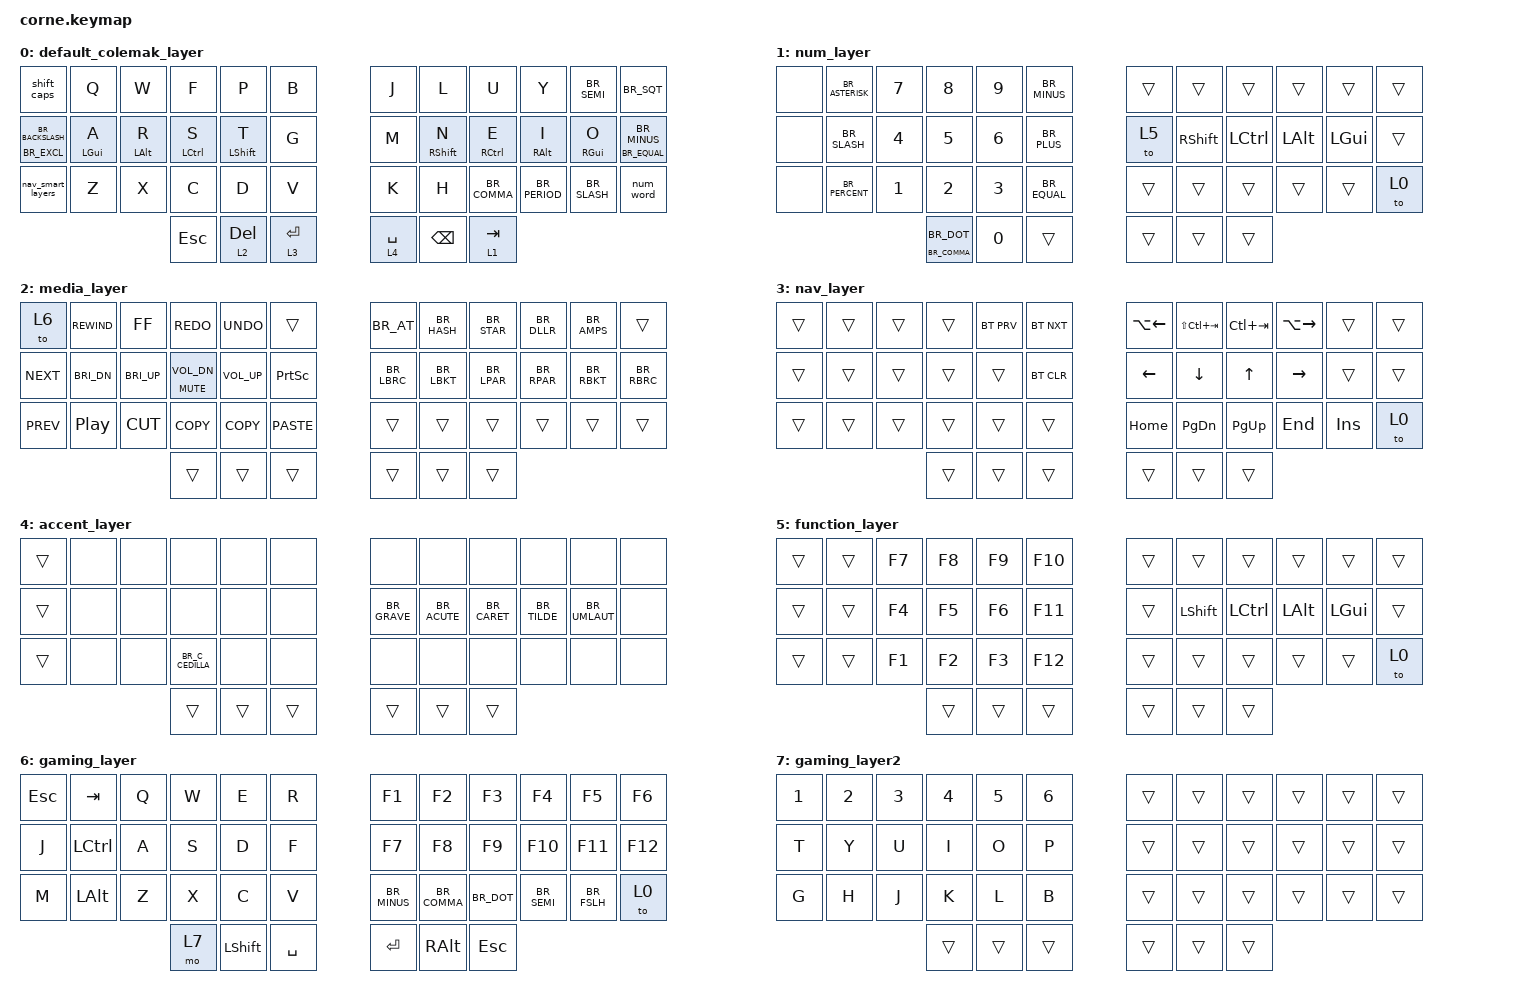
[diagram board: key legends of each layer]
/*
 * Copyright (c) 2020 The ZMK Contributors
 *
 * SPDX-License-Identifier: MIT
 */

#include <behaviors.dtsi>
#include "keys_br.h"
#include <dt-bindings/zmk/bt.h>
#include <dt-bindings/zmk/keys.h>
#include <dt-bindings/zmk/keys.h>

&caps_word {
    continue-list = <UNDERSCORE BACKSPACE DELETE MINUS>;
};

&mt {
    bindings = <&kp>, <&kp>;

    tapping-term-ms = <200>;
};

/ {
    behaviors {
        shift_caps: shift_caps {
            compatible = "zmk,behavior-tap-dance";
            label = "SHIFT_CAPS";
            #binding-cells = <0>;
            bindings = <&caps_word>, <&kt CAPSLOCK>;

            tapping-term-ms = <400>;
        };

        hmr: homewrow_mods_right {
            compatible = "zmk,behavior-hold-tap";
            label = "HOMEROW_MODS_RIGHT_HAND";
            bindings = <&kp>, <&kp>;

            #binding-cells = <2>;
            tapping-term-ms = <225>;
            flavor = "balanced";
            hold-trigger-key-positions = <0 1 2 4 5 12 13 14 15 16 17 24 25 26 27 28 29 36 37 38 3>;
            quick-tap-ms = <150>;
            require-prior-idle-ms = <200>;
            hold-trigger-on-release;
        };

        hml: homewrow_mods_left {
            compatible = "zmk,behavior-hold-tap";
            label = "HOMEROW_MODS_LEFT_HAND";
            bindings = <&kp>, <&kp>;

            #binding-cells = <2>;
            tapping-term-ms = <225>;
            flavor = "balanced";
            hold-trigger-key-positions = <6 7 8 9 10 11 18 19 20 21 22 23 30 31 32 33 34 35 39 40 41>;
            quick-tap-ms = <150>;
            require-prior-idle-ms = <175>;
            hold-trigger-on-release;
        };

        num_word: behavior_num_word {
            compatible = "zmk,behavior-caps-word";
            label = "NUM_WORD";
            #binding-cells = <0>;
            layers = <1>;
            continue-list = <BACKSPACE DELETE DOT COMMA KP_EQUAL KP_MULTIPLY KP_PLUS KP_MINUS KP_DIVIDE PERCENT F1 F2 F3 F4 F5 F6 F7 F8 F9 F10 F11 F12 EQUAL PLUS STAR MINUS>;
            ignore-numbers;
            mods = <(MOD_LCTL|MOD_LSFT|MOD_LALT|MOD_RCTL|MOD_RSFT|MOD_LGUI|MOD_RALT|MOD_RGUI)>;
        };

        nav_smart_layers: nav_smart_layers {
            compatible = "zmk,behavior-caps-word";
            label = "NAV_SMART_LAYERS";
            #binding-cells = <0>;
            layers = <3>;
            ignore-numbers;
            mods = <(MOD_LCTL|MOD_LSFT|MOD_LALT|MOD_RCTL|MOD_RSFT|MOD_LGUI|MOD_RALT|MOD_RGUI)>;
            continue-list = <UP DOWN RIGHT LEFT TAB PAGE_UP PAGE_DOWN HOME END>;
        };
    };

    combos {
        compatible = "zmk,combos";
    };

    keymap {
        compatible = "zmk,keymap";

        default_colemak_layer {
            bindings = <
&shift_caps               &kp Q            &kp W            &kp F         &kp P              &kp B          &kp J        &kp L               &kp U         &kp Y             &kp BR_SEMI       &kp BR_SQT
&mt BR_EXCL BR_BACKSLASH  &hml LEFT_GUI A  &hml LEFT_ALT R  &hml LCTRL S  &hml LEFT_SHIFT T  &kp G          &kp M        &hmr RIGHT_SHIFT N  &hmr RCTRL E  &hmr RIGHT_ALT I  &hmr RIGHT_GUI O  &mt BR_EQUAL BR_MINUS
&nav_smart_layers         &kp Z            &kp X            &kp C         &kp D              &kp V          &kp K        &kp H               &kp BR_COMMA  &kp BR_PERIOD     &kp BR_SLASH      &num_word
                                                            &kp ESC       &lt 2 DELETE       &lt 3 ENTER    &lt 4 SPACE  &kp BACKSPACE       &lt 1 TAB
            >;
        };

        num_layer {
            bindings = <
&none  &kp BR_ASTERISK  &kp N7  &kp N8               &kp N9  &kp BR_MINUS    &trans  &trans           &trans     &trans    &trans        &trans
&none  &kp BR_SLASH     &kp N4  &kp N5               &kp N6  &kp BR_PLUS     &to 5   &kp RIGHT_SHIFT  &kp LCTRL  &kp LALT  &kp LEFT_GUI  &trans
&none  &kp BR_PERCENT   &kp N1  &kp N2               &kp N3  &kp BR_EQUAL    &trans  &trans           &trans     &trans    &trans        &to 0
                                &mt BR_COMMA BR_DOT  &kp N0  &trans          &trans  &trans           &trans
            >;
        };

        media_layer {
            bindings = <
&to 6       &kp C_REWIND      &kp C_FF      &kp K_REDO           &kp K_UNDO    &trans             &kp BR_AT    &kp BR_HASH  &kp BR_STAR  &kp BR_DLLR  &kp BR_AMPS  &trans
&kp C_NEXT  &kp C_BRI_DN      &kp C_BRI_UP  &mt C_MUTE C_VOL_DN  &kp C_VOL_UP  &kp PRINTSCREEN    &kp BR_LBRC  &kp BR_LBKT  &kp BR_LPAR  &kp BR_RPAR  &kp BR_RBKT  &kp BR_RBRC
&kp C_PREV  &kp C_PLAY_PAUSE  &kp K_CUT     &kp K_COPY           &kp K_COPY    &kp K_PASTE        &trans       &trans       &trans       &trans       &trans       &trans
                                            &trans               &trans        &trans             &trans       &trans       &trans
            >;
        };

        nav_layer {
            bindings = <
&trans  &trans  &trans  &trans  &bt BT_PRV  &bt BT_NXT    &kp LA(LEFT)  &kp LS(LC(TAB))  &kp LC(TAB)  &kp LA(RIGHT)  &trans      &trans
&trans  &trans  &trans  &trans  &trans      &bt BT_CLR    &kp LEFT      &kp DOWN         &kp UP       &kp RIGHT      &trans      &trans
&trans  &trans  &trans  &trans  &trans      &trans        &kp HOME      &kp PAGE_DOWN    &kp PAGE_UP  &kp END        &kp INSERT  &to 0
                        &trans  &trans      &trans        &trans        &trans           &trans
            >;
        };

        accent_layer {
            bindings = <
&trans  &none  &none  &none             &none   &none     &none         &none         &none         &none         &none          &none
&trans  &none  &none  &none             &none   &none     &kp BR_GRAVE  &kp BR_ACUTE  &kp BR_CARET  &kp BR_TILDE  &kp BR_UMLAUT  &none
&trans  &none  &none  &kp BR_C_CEDILLA  &none   &none     &none         &none         &none         &none         &none          &none
                      &trans            &trans  &trans    &trans        &trans        &trans
            >;
        };

        function_layer {
            bindings = <
&trans  &trans  &kp F7  &kp F8  &kp F9  &kp F10    &trans  &trans          &trans     &trans    &trans        &trans
&trans  &trans  &kp F4  &kp F5  &kp F6  &kp F11    &trans  &kp LEFT_SHIFT  &kp LCTRL  &kp LALT  &kp LEFT_GUI  &trans
&trans  &trans  &kp F1  &kp F2  &kp F3  &kp F12    &trans  &trans          &trans     &trans    &trans        &to 0
                        &trans  &trans  &trans     &trans  &trans          &trans
            >;
        };

        gaming_layer {
            bindings = <
&kp ESC  &kp TAB       &kp Q  &kp W  &kp E           &kp R        &kp F1        &kp F2        &kp F3      &kp F4       &kp F5       &kp F6
&kp J    &kp LCTRL     &kp A  &kp S  &kp D           &kp F        &kp F7        &kp F8        &kp F9      &kp F10      &kp F11      &kp F12
&kp M    &kp LEFT_ALT  &kp Z  &kp X  &kp C           &kp V        &kp BR_MINUS  &kp BR_COMMA  &kp BR_DOT  &kp BR_SEMI  &kp BR_FSLH  &to 0
                              &mo 7  &kp LEFT_SHIFT  &kp SPACE    &kp ENTER     &kp RALT      &kp ESC
            >;
        };

        gaming_layer2 {
            bindings = <
&kp N1  &kp N2  &kp N3  &kp N4  &kp N5  &kp N6    &trans  &trans  &trans  &trans  &trans  &trans
&kp T   &kp Y   &kp U   &kp I   &kp O   &kp P     &trans  &trans  &trans  &trans  &trans  &trans
&kp G   &kp H   &kp J   &kp K   &kp L   &kp B     &trans  &trans  &trans  &trans  &trans  &trans
                        &trans  &trans  &trans    &trans  &trans  &trans
            >;
        };
    };
};
